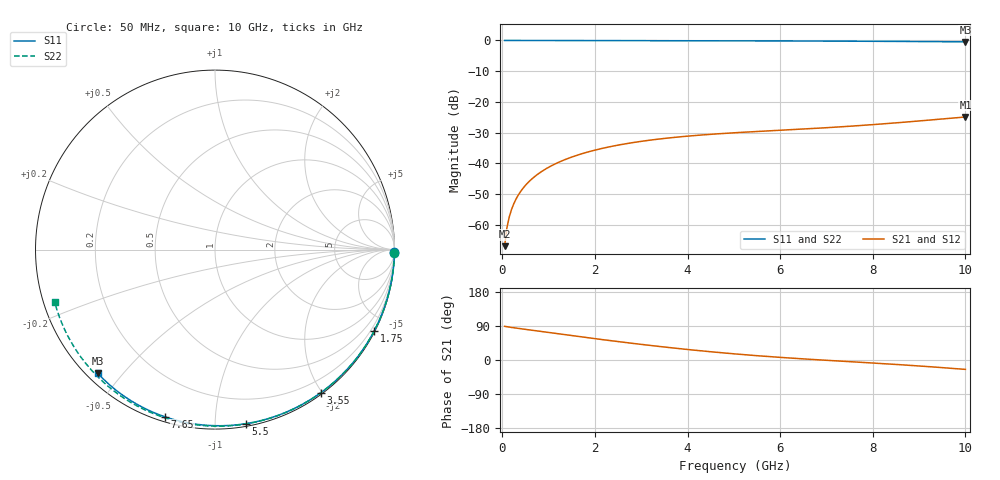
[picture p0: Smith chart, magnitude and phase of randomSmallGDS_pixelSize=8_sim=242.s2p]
! freq	dB(S11)	phase(S11)	dB(S12)	phase(S12)
!  dB(S21)	phase(S21)	dB(S22)	phase(S22)
!S-par simulation data
#  GHz  S  DB  R 50
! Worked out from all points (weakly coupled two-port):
!   200 points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, 50 MHz to 10 GHz, reference 50 ohm
!   highest |S21| = -24.91 dB at 10 GHz (marker M1); lowest = -67.0 dB at 50 MHz (marker M2)
!   lowest |S11| = -0.5 dB at 10 GHz (marker M3), VSWR 38.55, Z = 1.54 - j21.4 ohm
!   |S11| at or under -10 dB: nowhere
!   |S22| runs from -0.5 to 0.0 dB; largest |S21 - S12| = 0
!   S11 on the Smith chart (normalised r, x): 50 MHz: open; 1.75 GHz: 0.04, -4.16; 3.55 GHz: 0.02, -1.98; 5.5 GHz: 0.02, -1.19; 7.65 GHz: 0.02, -0.75; 10 GHz: 0.03, -0.43
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0.05  -0.00 -0.8  -66.97 88.9  -66.97 88.9  -0.00 -0.9
0.1  -0.00 -1.6  -60.97 87.8  -60.97 87.8  -0.00 -1.9
0.15  -0.00 -2.4  -57.48 86.8  -57.48 86.8  -0.00 -2.8
0.2  -0.00 -3.1  -55.01 85.9  -55.01 85.9  -0.00 -3.8
0.25  -0.00 -3.9  -53.09 85.0  -53.09 85.0  -0.00 -4.7
0.35  -0.00 -5.5  -50.22 83.3  -50.22 83.3  -0.00 -6.6
0.5  -0.01 -7.8  -47.17 80.8  -47.17 80.8  -0.01 -9.5
0.7  -0.01 -10.9  -44.30 77.5  -44.30 77.5  -0.01 -13.2
1  -0.02 -15.6  -41.29 72.6  -41.29 72.6  -0.02 -18.8
1.35  -0.03 -21.0  -38.81 66.8  -38.81 66.8  -0.03 -25.2
1.75  -0.04 -27.0  -36.73 60.3  -36.73 60.3  -0.04 -32.6
2.5  -0.05 -38.3  -34.07 48.6  -34.07 48.6  -0.06 -46.0
3.4  -0.07 -51.4  -32.06 35.6  -32.06 35.6  -0.08 -61.6
3.55  -0.07 -53.5  -31.81 33.6  -31.81 33.6  -0.09 -64.1
4.3  -0.09 -64.0  -30.78 24.1  -30.78 24.1  -0.11 -76.5
5.05  -0.12 -74.1  -30.02 15.8  -30.02 15.8  -0.14 -88.5
5.5  -0.13 -80.0  -29.63 11.4  -29.63 11.4  -0.16 -95.5
6.7  -0.19 -95.2  -28.67 1.4  -28.67 1.4  -0.22 -113.5
7.65  -0.24 -106.6  -27.78 -5.4  -27.78 -5.4  -0.29 -127.4
8.35  -0.29 -114.8  -27.01 -10.5  -27.01 -10.5  -0.35 -137.5
9.2  -0.37 -124.5  -25.96 -17.4  -25.96 -17.4  -0.44 -149.9
10  -0.45 -133.5  -24.91 -24.8  -24.91 -24.8  -0.54 -161.9
